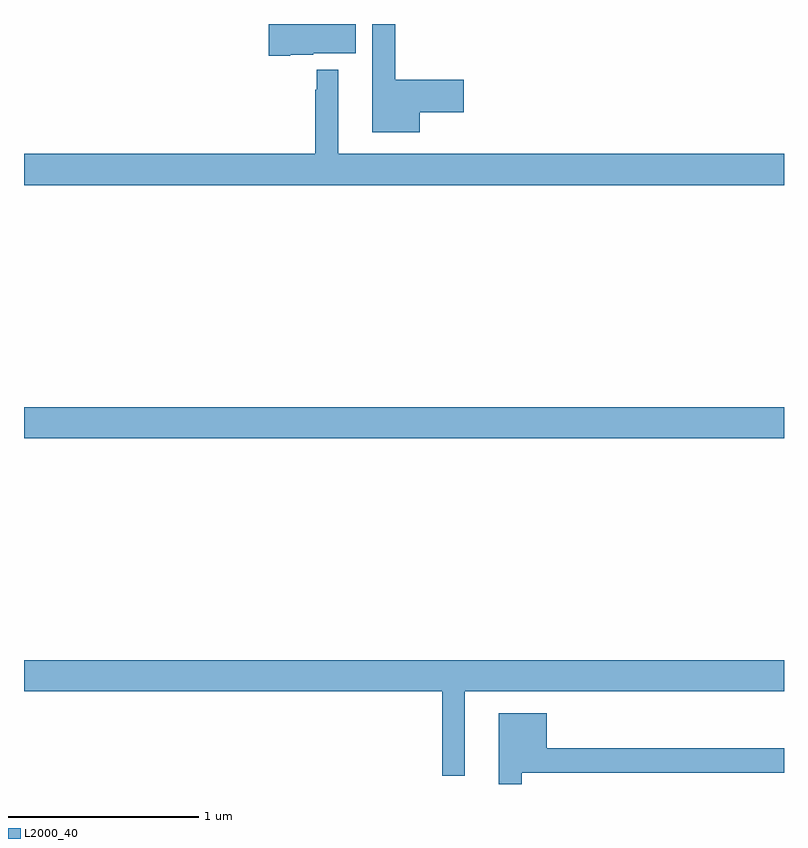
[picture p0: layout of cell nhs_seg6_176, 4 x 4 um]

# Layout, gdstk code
import gdstk
lib = gdstk.Library(unit=1e-6, precision=1e-09)
def R(c, l, rs):  # rectangles x0, y0, x1, y1
    for r in rs: c.add(gdstk.rectangle(r[:2], r[2:], *l))
def P(c, l, *ps):  # polygons
    for p in ps: c.add(gdstk.Polygon(p, *l))
L2000_40 = (2000, 40)

nhs_seg6_176 = lib.new_cell('nhs_seg6_176')
R(nhs_seg6_176, L2000_40, [(119,963.32,123,963.484)])
P(nhs_seg6_176, L2000_40, [(120.4,965.339),(120.522,965.339),(120.522,965.345),(120.745,965.345),(120.745,965.5),(120.288,965.5),(120.288,965.333),(120.4,965.333)],
  [(121.084,965.036),(121.315,965.036),(121.315,965.207),(120.955,965.207),(120.955,965.5),(120.833,965.5),(120.833,964.931),(121.084,964.931)],
  [(123,964.816),(120.655,964.816),(120.655,965.26),(120.541,965.26),(120.541,965.153),(120.534,965.153),(120.534,964.816),(119,964.816),(119,964.652),(123,964.652)],
  [(121.321,961.988),(123,961.988),(123,962.152),(119,962.152),(119,961.988),(121.2,961.988),(121.2,961.544),(121.321,961.544)],
  [(121.621,961.558),(123,961.558),(123,961.687),(121.75,961.687),(121.75,961.873),(121.499,961.873),(121.499,961.5),(121.621,961.5)])

lib.write_gds('nhs_seg6_176.gds')
